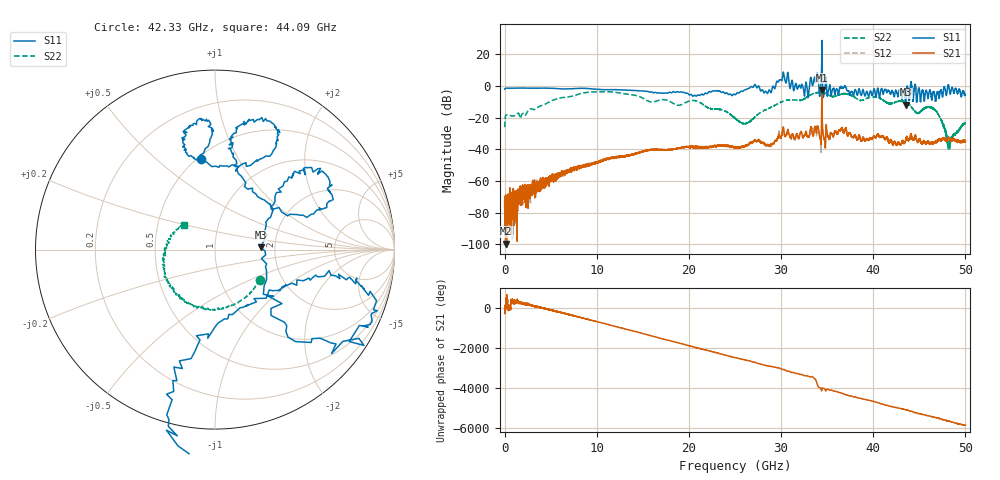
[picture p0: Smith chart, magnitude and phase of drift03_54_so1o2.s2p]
!Created with skrf (http://scikit-rf.org).
# Hz S RI R 50.0
!freq ReS11 ImS11 ReS21 ImS21 ReS12 ImS12 ReS22 ImS22
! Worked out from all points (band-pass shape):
!   10000 points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, 5.3 MHz to 50 GHz, reference 50 ohm
!   highest |S21| = -2.56 dB at 34.43 GHz (marker M1); lowest = -99.6 dB at 195.3 MHz (marker M2)
!   |S21| within 3 dB of the highest: 34.42754 GHz to 34.43419 GHz (6.646 MHz wide, 0.0193 % of centre)
!   lowest |S11| = -11.9 dB at 43.52 GHz (marker M3), VSWR 1.68, Z = 84 + j2.24 ohm
!   |S11| at or under -10 dB: 43.49077 GHz to 43.54651 GHz (55.74 MHz wide, 0.128 % of centre); 44.70769 GHz to 44.71256 GHz (4.863 MHz wide, 0.0109 % of centre); 45.13483 GHz to 45.13554 GHz (712.2 kHz wide, 0.00158 % of centre)
!   |S22| runs from -39.8 to -3.6 dB; largest |S21 - S12| = 0.24
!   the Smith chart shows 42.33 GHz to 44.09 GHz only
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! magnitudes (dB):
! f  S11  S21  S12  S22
! 5.3 MHz  -2.1  -72.3  -73.8  -26.1
! 195.3 MHz  -1.4  -99.6  -78.8  -18.3
! 8.34 GHz  -1.5  -51.5  -50.7  -4.7
! 16.67 GHz  -4.4  -40.3  -40.2  -9.2
! 20.74 GHz  -6.3  -38.3  -38.6  -9.3
! 25.01 GHz  -5.5  -38.9  -38.9  -20.5
! 26.22 GHz  -2.2  -37.7  -37.5  -23.7
! 27.38 GHz  -1.1  -34.9  -35.1  -18.5
! 28.72 GHz  -2.5  -37.6  -37.5  -14.1
! 30.14 GHz  4.4  -29.4  -29.7  -9.9
! 32.74 GHz  2.0  -29.6  -29.3  -7.3
! 33.34 GHz  2.5  -27.5  -27.7  -5.3
! 33.82 GHz  4.0  -29.1  -29.5  -4.4
! 34.43 GHz  28.8  -2.6  -4.7  -3.9
! 36.48 GHz  -0.4  -28.0  -27.9  -5.4
! 38.87 GHz  -2.4  -32.8  -32.6  -9.0
! 41.67 GHz  -3.0  -35.4  -35.6  -10.8
! 43.52 GHz  -11.9  -34.5  -34.5  -10.4
! 44.76 GHz  -8.2  -34.9  -34.9  -17.1
! 46.67 GHz  -5.6  -35.5  -35.3  -15.1
! 48.22 GHz  -0.7  -33.7  -33.2  -37.7
! 50 GHz  -5.2  -34.6  -34.8  -23.3
